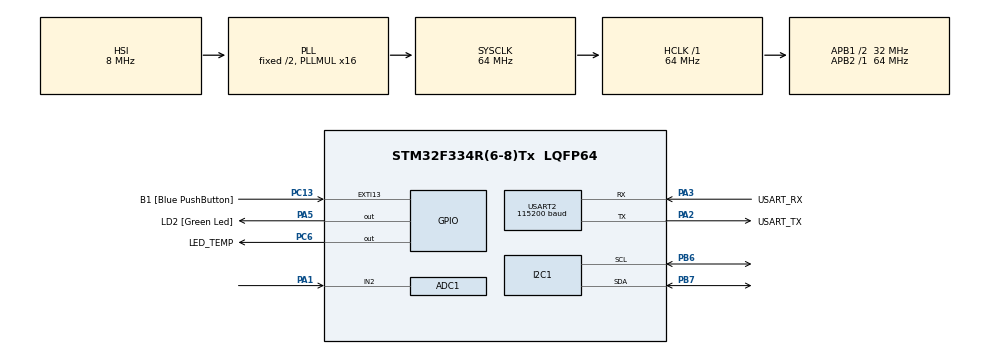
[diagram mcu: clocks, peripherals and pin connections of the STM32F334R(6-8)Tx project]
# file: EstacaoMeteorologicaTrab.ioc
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ADC1.Channel-0\#ChannelRegularConversion=ADC_CHANNEL_2
ADC1.NbrOfConversionFlag=1
ADC1.Offset-0\#ChannelRegularConversion=0
ADC1.OffsetNumber-0\#ChannelRegularConversion=ADC_OFFSET_NONE
ADC1.Rank-0\#ChannelRegularConversion=1
ADC1.SamplingTime-0\#ChannelRegularConversion=ADC_SAMPLETIME_1CYCLE_5
ADC1.SamplingTimeOPAMP-0\#ChannelRegularConversion=ADC_SAMPLETIME_61CYCLES_5
ADC1.SubFamily=STM32F334x8
ADC1.master=1
I2C1.Timing=0x00201D2B
Mcu.Family=STM32F3
Mcu.Name=STM32F334R(6-8)Tx
Mcu.Package=LQFP64
NVIC.PriorityGroup=NVIC_PRIORITYGROUP_0
NVIC.TIM6_DAC1_IRQn=true\:0\:0\:false\:false\:true\:true\:true\:true
PA1.Mode=IN2-Single-Ended
PA1.Signal=ADC1_IN2
PA13.GPIO_Label=TMS
PA13.Mode=Serial_Wire
PA13.Signal=SYS_JTMS-SWDIO
PA14.GPIO_Label=TCK
PA14.Mode=Serial_Wire
PA14.Signal=SYS_JTCK-SWCLK
PA2.GPIO_Label=USART_TX
PA2.Mode=Asynchronous
PA2.Signal=USART2_TX
PA3.GPIO_Label=USART_RX
PA3.Mode=Asynchronous
PA3.Signal=USART2_RX
PA5.GPIO_Label=LD2 [Green Led]
PA5.Signal=GPIO_Output
PB3.GPIO_Label=SWO
PB3.Signal=SYS_JTDO-TRACESWO
PB6.Mode=I2C
PB6.Signal=I2C1_SCL
PB7.Mode=I2C
PB7.Signal=I2C1_SDA
PC13.GPIO_Label=B1 [Blue PushButton]
PC13.GPIO_ModeDefaultEXTI=GPIO_MODE_IT_FALLING
PC13.Signal=GPXTI13
PC14\ /\ OSC32_IN.Mode=LSE-External-Oscillator
PC14\ /\ OSC32_IN.Signal=RCC_OSC32_IN
PC15\ /\ OSC32_OUT.GPIO_Label=RCC_OSC32_OUT
PC15\ /\ OSC32_OUT.Mode=LSE-External-Oscillator
PC15\ /\ OSC32_OUT.Signal=RCC_OSC32_OUT
PC6.GPIO_Label=LED_TEMP
PC6.Signal=GPIO_Output
PF0\ /\ OSC_IN.Mode=HSE-External-Clock-Source
PF0\ /\ OSC_IN.Signal=RCC_OSC_IN
PF1\ /\ OSC_OUT.Signal=RCC_OSC_OUT
ProjectManager.HeapSize=0x200
ProjectManager.StackSize=0x400
ProjectManager.TargetToolchain=CMake
RCC.AHBFreq_Value=64000000
RCC.APB1CLKDivider=RCC_HCLK_DIV2
RCC.APB1Freq_Value=32000000
RCC.APB1TimFreq_Value=64000000
RCC.APB2Freq_Value=64000000
RCC.APB2TimFreq_Value=64000000
RCC.CortexFreq_Value=64000000
RCC.FLatency-AdvancedSettings=FLASH_LATENCY_2
RCC.HCLKFreq_Value=64000000
RCC.HSE_VALUE=8000000
RCC.HSI_VALUE=8000000
RCC.PLLMUL=RCC_PLL_MUL16
RCC.SYSCLKFreq_VALUE=64000000
RCC.SYSCLKSourceVirtual=RCC_SYSCLKSOURCE_PLLCLK
TIM6.AutoReloadPreload=TIM_AUTORELOAD_PRELOAD_ENABLE
TIM6.Period=9999
TIM6.Prescaler=7199
USART2.BaudRate=115200
USART2.VirtualMode-Asynchronous=VM_ASYNC
VP_TIM6_VS_ClockSourceINT.Mode=Enable_Timer
board=NUCLEO-F334R8

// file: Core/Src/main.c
/* USER CODE BEGIN Header */
/**
  ******************************************************************************
  * @file           : main.c
  * @brief          : Main program body
  ******************************************************************************
  * @attention
  *
  * Copyright (c) 2026 STMicroelectronics.
  * All rights reserved.
  *
  * This software is licensed under terms that can be found in the LICENSE file
  * in the root directory of this software component.
  * If no LICENSE file comes with this software, it is provided AS-IS.
  *
  ******************************************************************************
  */
/* USER CODE END Header */
#include "main.h"
#include "adc.h"
#include "i2c.h"
#include "tim.h"
#include "usart.h"
#include "gpio.h"

/* USER CODE BEGIN Includes */
#include <stdio.h>
#include <string.h>
#include "hdc1080.h"
/* USER CODE END Includes */

/* USER CODE BEGIN PV */
typedef enum {
    STATE_INIT,
    STATE_IDLE,
    STATE_READING,
    STATE_ALERTA,
    STATE_ERROR
} SystemState_t;

SystemState_t state = STATE_INIT;
HDC1080_Data_t sensorData;
uint16_t ldrValue = 0;
char msg[80];
volatile uint8_t timerFlag = 0;
uint8_t errorCount = 0;        // contador de erros consecutivos
uint32_t lastBlink = 0;        // controla pisca sem HAL_Delay

#define TEMP_MAX     30.0f
#define TEMP_MIN     15.0f
#define MAX_ERRORS   3         // erros consecutivos antes de STATE_ERROR
/* USER CODE END PV */

void SystemClock_Config(void);

/* USER CODE BEGIN 0 */
// Interrupção do TIM6 - dispara a cada 1 segundo
// Prescaler=7199, Period=9999, Clock=72MHz - RM0364 Seção 22
void HAL_TIM_PeriodElapsedCallback(TIM_HandleTypeDef *htim) {
    if (htim->Instance == TIM6) {
        timerFlag = 1;
    }
}
/* USER CODE END 0 */

int main(void)
{

  /* MCU Configuration--------------------------------------------------------*/

  /* Reset of all peripherals, Initializes the Flash interface and the Systick. */
  HAL_Init();

  /* Configure the system clock */
  SystemClock_Config();

  /* Initialize all configured peripherals */
  MX_GPIO_Init();
  MX_ADC1_Init();
  MX_I2C1_Init();
  MX_TIM6_Init();
  MX_USART2_UART_Init();
  /* USER CODE BEGIN 2 */
 HAL_Delay(100);
HAL_TIM_Base_Start_IT(&htim6);
HAL_GPIO_WritePin(GPIOA, GPIO_PIN_5, GPIO_PIN_SET);
HAL_GPIO_WritePin(GPIOC, GPIO_PIN_6, GPIO_PIN_RESET);

// Scanner I2C — detecta se o sensor responde
char scan_msg[40];
HAL_UART_Transmit(&huart2, (uint8_t*)"Scan I2C:\r\n", 11, HAL_MAX_DELAY);
uint8_t found = 0;
for (uint8_t addr = 1; addr < 128; addr++) {
    if (HAL_I2C_IsDeviceReady(&hi2c1, addr << 1, 3, 20) == HAL_OK) {
        snprintf(scan_msg, sizeof(scan_msg), "  -> 0x%02X OK\r\n", addr);
        HAL_UART_Transmit(&huart2, (uint8_t*)scan_msg,
                          strlen(scan_msg), HAL_MAX_DELAY);
        found = 1;
    }
}
if (!found) {
    HAL_UART_Transmit(&huart2,
        (uint8_t*)"  Nenhum dispositivo!\r\n", 23, HAL_MAX_DELAY);
}

// Só inicializa o sensor depois do scan
if (HDC1080_Init(&hi2c1) != HAL_OK) {
    state = STATE_ERROR;
    HAL_UART_Transmit(&huart2,
        (uint8_t*)"ERRO: HDC1080!\r\n", 16, HAL_MAX_DELAY);
} else {
    state = STATE_IDLE;
    HAL_UART_Transmit(&huart2,
        (uint8_t*)"Sistema OK!\r\n", 13, HAL_MAX_DELAY);
}
  /* USER CODE END 2 */

  /* Infinite loop */
  while (1)
  {

    /* USER CODE BEGIN 3 */
   switch (state) {

        case STATE_INIT:
            // LED verde ON, vermelho OFF — estado inicial
            HAL_GPIO_WritePin(GPIOA, GPIO_PIN_5, GPIO_PIN_SET);
            HAL_GPIO_WritePin(GPIOC, GPIO_PIN_6, GPIO_PIN_RESET);
            errorCount = 0;
            state = STATE_IDLE;
            break;

        case STATE_IDLE:
            if (timerFlag) {
                timerFlag = 0;
                state = STATE_READING;
            }
            break;

        case STATE_READING:
            if (HDC1080_ReadData(&hi2c1, &sensorData) != HAL_OK) {
                errorCount++;
                snprintf(msg, sizeof(msg),
                    "Falha na leitura! (%d/%d)\r\n", errorCount, MAX_ERRORS);
                HAL_UART_Transmit(&huart2,
                    (uint8_t*)msg, strlen(msg), HAL_MAX_DELAY);

                // Só vai para ERROR após várias falhas consecutivas
                if (errorCount >= MAX_ERRORS) {
                    state = STATE_ERROR;
                } else {
                    state = STATE_IDLE; // tenta de novo no próximo ciclo
                }
                break;
            }

            // Leitura OK — zera contador de erros
            errorCount = 0;

            // Leitura do LDR via ADC1 canal IN2 (PA1)
            HAL_ADC_Start(&hadc1);
            HAL_ADC_PollForConversion(&hadc1, 100);
            ldrValue = HAL_ADC_GetValue(&hadc1);
            HAL_ADC_Stop(&hadc1);

            int16_t temp_int = (int16_t)sensorData.temperature;
            uint8_t temp_dec = (uint8_t)((sensorData.temperature - temp_int) * 10);

            int16_t umid_int = (int16_t)sensorData.humidity;
            uint8_t umid_dec = (uint8_t)((sensorData.humidity - umid_int) * 10);

            snprintf(msg, sizeof(msg),
            "Temp: %d.%d C | Umid: %d.%d %% | LDR: %u\r\n",
            temp_int, temp_dec,
            umid_int, umid_dec,
            ldrValue);

            HAL_UART_Transmit(&huart2,
                (uint8_t*)msg, strlen(msg), HAL_MAX_DELAY);

            if (sensorData.temperature > TEMP_MAX ||
                sensorData.temperature < TEMP_MIN) {
                state = STATE_ALERTA;
            } else {
                // Temperatura OK — verde ON, vermelho OFF
                HAL_GPIO_WritePin(GPIOA, GPIO_PIN_5, GPIO_PIN_SET);
                HAL_GPIO_WritePin(GPIOC, GPIO_PIN_6, GPIO_PIN_RESET);
                state = STATE_IDLE;
            }
            break;

        case STATE_ALERTA:
            // Temperatura fora do limite — verde OFF, vermelho ON
            HAL_GPIO_WritePin(GPIOA, GPIO_PIN_5, GPIO_PIN_RESET);
            HAL_GPIO_WritePin(GPIOC, GPIO_PIN_6, GPIO_PIN_SET);
            HAL_UART_Transmit(&huart2,
                (uint8_t*)"ALERTA: Temp fora do limite!\r\n",
                30, HAL_MAX_DELAY);
            state = STATE_IDLE;
            break;

        case STATE_ERROR:
            // Pisca vermelho SEM HAL_Delay — não bloqueia a máquina de estados
            if (HAL_GetTick() - lastBlink >= 300) {
                lastBlink = HAL_GetTick();
                HAL_GPIO_WritePin(GPIOA, GPIO_PIN_5, GPIO_PIN_RESET);
                HAL_GPIO_TogglePin(GPIOC, GPIO_PIN_6);
            }
            // Tenta se recuperar a cada tick do timer
            if (timerFlag) {
                timerFlag = 0;
                if (HDC1080_Init(&hi2c1) == HAL_OK) {
                    HAL_UART_Transmit(&huart2,
                        (uint8_t*)"Sensor recuperado!\r\n", 20, HAL_MAX_DELAY);
                    state = STATE_INIT; // reinicia limpo
                }
            }
            break;
    }
  }
  /* USER CODE END 3 */
}

void SystemClock_Config(void)
{
  RCC_OscInitTypeDef RCC_OscInitStruct = {0};
  RCC_ClkInitTypeDef RCC_ClkInitStruct = {0};
  RCC_PeriphCLKInitTypeDef PeriphClkInit = {0};

  /** Initializes the RCC Oscillators according to the specified parameters
  * in the RCC_OscInitTypeDef structure.
  */
  RCC_OscInitStruct.OscillatorType = RCC_OSCILLATORTYPE_HSI;
  RCC_OscInitStruct.HSIState = RCC_HSI_ON;
  RCC_OscInitStruct.HSICalibrationValue = RCC_HSICALIBRATION_DEFAULT;
  RCC_OscInitStruct.PLL.PLLState = RCC_PLL_ON;
  RCC_OscInitStruct.PLL.PLLSource = RCC_PLLSOURCE_HSI;
  RCC_OscInitStruct.PLL.PLLMUL = RCC_PLL_MUL16;
  if (HAL_RCC_OscConfig(&RCC_OscInitStruct) != HAL_OK)
  {
    Error_Handler();
  }

  /** Initializes the CPU, AHB and APB buses clocks
  */
  RCC_ClkInitStruct.ClockType = RCC_CLOCKTYPE_HCLK|RCC_CLOCKTYPE_SYSCLK
                              |RCC_CLOCKTYPE_PCLK1|RCC_CLOCKTYPE_PCLK2;
  RCC_ClkInitStruct.SYSCLKSource = RCC_SYSCLKSOURCE_PLLCLK;
  RCC_ClkInitStruct.AHBCLKDivider = RCC_SYSCLK_DIV1;
  RCC_ClkInitStruct.APB1CLKDivider = RCC_HCLK_DIV2;
  RCC_ClkInitStruct.APB2CLKDivider = RCC_HCLK_DIV1;

  if (HAL_RCC_ClockConfig(&RCC_ClkInitStruct, FLASH_LATENCY_2) != HAL_OK)
  {
    Error_Handler();
  }
  PeriphClkInit.PeriphClockSelection = RCC_PERIPHCLK_I2C1|RCC_PERIPHCLK_ADC12;
  PeriphClkInit.Adc12ClockSelection = RCC_ADC12PLLCLK_DIV1;
  PeriphClkInit.I2c1ClockSelection = RCC_I2C1CLKSOURCE_HSI;
  if (HAL_RCCEx_PeriphCLKConfig(&PeriphClkInit) != HAL_OK)
  {
    Error_Handler();
  }
}

void Error_Handler(void)
{
  __disable_irq();
  while (1)
  {
  }
}
